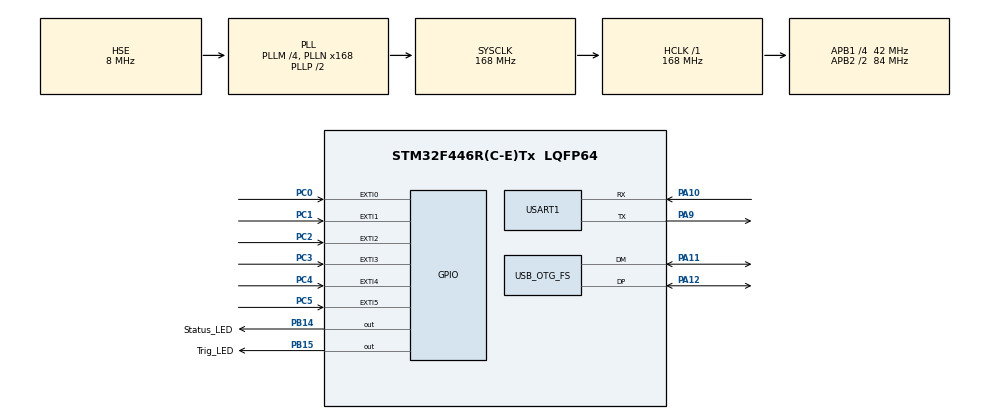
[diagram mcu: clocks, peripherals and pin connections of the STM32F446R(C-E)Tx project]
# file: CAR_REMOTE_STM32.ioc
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Mcu.Family=STM32F4
Mcu.Name=STM32F446R(C-E)Tx
Mcu.Package=LQFP64
NVIC.EXTI0_IRQn=true\:0\:0\:false\:false\:true\:true\:true\:true
NVIC.EXTI1_IRQn=true\:0\:0\:false\:false\:true\:true\:true\:true
NVIC.EXTI2_IRQn=true\:0\:0\:false\:false\:true\:true\:true\:true
NVIC.EXTI3_IRQn=true\:0\:0\:false\:false\:true\:true\:true\:true
NVIC.EXTI4_IRQn=true\:0\:0\:false\:false\:true\:true\:true\:true
NVIC.EXTI9_5_IRQn=true\:0\:0\:false\:false\:true\:true\:true\:true
NVIC.OTG_FS_IRQn=true\:0\:0\:false\:false\:true\:false\:true\:true
NVIC.PriorityGroup=NVIC_PRIORITYGROUP_4
NVIC.USART1_IRQn=true\:0\:0\:false\:false\:true\:true\:true\:true
PA10.Mode=Asynchronous
PA10.Signal=USART1_RX
PA11.Mode=Device_Only
PA11.Signal=USB_OTG_FS_DM
PA12.Mode=Device_Only
PA12.Signal=USB_OTG_FS_DP
PA9.Mode=Asynchronous
PA9.Signal=USART1_TX
PB14.GPIO_Label=Status_LED
PB14.Signal=GPIO_Output
PB15.GPIO_Label=Trig_LED
PB15.Signal=GPIO_Output
PC0.GPIO_PuPd=GPIO_PULLUP
PC0.Signal=GPXTI0
PC1.GPIO_PuPd=GPIO_PULLUP
PC1.Signal=GPXTI1
PC2.GPIO_PuPd=GPIO_PULLUP
PC2.Signal=GPXTI2
PC3.GPIO_PuPd=GPIO_PULLUP
PC3.Signal=GPXTI3
PC4.GPIO_PuPd=GPIO_PULLUP
PC4.Signal=GPXTI4
PC5.GPIO_PuPd=GPIO_PULLUP
PC5.Signal=GPXTI5
PH0-OSC_IN.Mode=HSE-External-Oscillator
PH0-OSC_IN.Signal=RCC_OSC_IN
PH1-OSC_OUT.Mode=HSE-External-Oscillator
PH1-OSC_OUT.Signal=RCC_OSC_OUT
ProjectManager.HeapSize=0x200
ProjectManager.StackSize=0x400
ProjectManager.TargetToolchain=STM32CubeIDE
RCC.AHBFreq_Value=168000000
RCC.APB1CLKDivider=RCC_HCLK_DIV4
RCC.APB1Freq_Value=42000000
RCC.APB1TimFreq_Value=84000000
RCC.APB2CLKDivider=RCC_HCLK_DIV2
RCC.APB2Freq_Value=84000000
RCC.APB2TimFreq_Value=168000000
RCC.CortexFreq_Value=168000000
RCC.HCLKFreq_Value=168000000
RCC.HSE_VALUE=8000000
RCC.PLLM=4
RCC.PLLN=168
RCC.PLLQ=7
RCC.SYSCLKFreq_VALUE=168000000
RCC.SYSCLKSource=RCC_SYSCLKSOURCE_PLLCLK
RCC.USBFreq_Value=48000000
RCC.VCOOutputFreq_Value=336000000
USART1.VirtualMode=VM_ASYNC
USB_DEVICE.CLASS_NAME_FS=CDC
USB_DEVICE.VirtualMode-CDC_FS=Cdc
USB_DEVICE.VirtualModeFS=Cdc_FS
USB_OTG_FS.VirtualMode=Device_Only
VP_USB_DEVICE_VS_USB_DEVICE_CDC_FS.Mode=CDC_FS
board=custom

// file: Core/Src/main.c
/* USER CODE BEGIN Header */
/**
  ******************************************************************************
  * @file           : main.c
  * @brief          : Main program body
  ******************************************************************************
  * @attention
  *
  * Copyright (c) 2025 STMicroelectronics.
  * All rights reserved.
  *
  * This software is licensed under terms that can be found in the LICENSE file
  * in the root directory of this software component.
  * If no LICENSE file comes with this software, it is provided AS-IS.
  *
  ******************************************************************************
  */
/* USER CODE END Header */
#include "main.h"
#include "usb_device.h"

/* USER CODE BEGIN Includes */
#include "usbd_cdc_if.h"
#include <string.h>
/* USER CODE END Includes */

UART_HandleTypeDef huart1;

void SystemClock_Config(void);
static void MX_GPIO_Init(void);
static void MX_USART1_UART_Init(void);

/* USER CODE BEGIN 0 */
char RxBuff[7];
char usbCdcData[30];
/* USER CODE END 0 */

int main(void)
{

  /* MCU Configuration--------------------------------------------------------*/

  /* Reset of all peripherals, Initializes the Flash interface and the Systick. */
  HAL_Init();

  /* Configure the system clock */
  SystemClock_Config();

  /* Initialize all configured peripherals */
  MX_GPIO_Init();
  MX_USART1_UART_Init();
  MX_USB_DEVICE_Init();
  /* USER CODE BEGIN 2 */
  //HAL_UART_Receive_IT(&huart1, RxBuff, 7);
  HAL_GPIO_WritePin(GPIOB, GPIO_PIN_14, GPIO_PIN_SET);
  HAL_Delay(2000);
  CDC_Transmit_FS((uint8_t*)"This USB is talking\r\n", sizeof("This USB is talking\r\n"));

  /* USER CODE END 2 */

  /* Infinite loop */
  while (1)
  {
	  GPIO_PinState pinState = HAL_GPIO_ReadPin(GPIOB, GPIO_PIN_15);
	  if(pinState == GPIO_PIN_SET){
		  HAL_Delay(250);
		  HAL_GPIO_WritePin(GPIOB, GPIO_PIN_15, GPIO_PIN_RESET);
	  }
  }
}

void SystemClock_Config(void)
{
  RCC_OscInitTypeDef RCC_OscInitStruct = {0};
  RCC_ClkInitTypeDef RCC_ClkInitStruct = {0};

  /** Configure the main internal regulator output voltage
  */
  __HAL_RCC_PWR_CLK_ENABLE();
  __HAL_PWR_VOLTAGESCALING_CONFIG(PWR_REGULATOR_VOLTAGE_SCALE1);

  /** Initializes the RCC Oscillators according to the specified parameters
  * in the RCC_OscInitTypeDef structure.
  */
  RCC_OscInitStruct.OscillatorType = RCC_OSCILLATORTYPE_HSE;
  RCC_OscInitStruct.HSEState = RCC_HSE_ON;
  RCC_OscInitStruct.PLL.PLLState = RCC_PLL_ON;
  RCC_OscInitStruct.PLL.PLLSource = RCC_PLLSOURCE_HSE;
  RCC_OscInitStruct.PLL.PLLM = 4;
  RCC_OscInitStruct.PLL.PLLN = 168;
  RCC_OscInitStruct.PLL.PLLP = RCC_PLLP_DIV2;
  RCC_OscInitStruct.PLL.PLLQ = 7;
  RCC_OscInitStruct.PLL.PLLR = 2;
  if (HAL_RCC_OscConfig(&RCC_OscInitStruct) != HAL_OK)
  {
    Error_Handler();
  }

  /** Initializes the CPU, AHB and APB buses clocks
  */
  RCC_ClkInitStruct.ClockType = RCC_CLOCKTYPE_HCLK|RCC_CLOCKTYPE_SYSCLK
                              |RCC_CLOCKTYPE_PCLK1|RCC_CLOCKTYPE_PCLK2;
  RCC_ClkInitStruct.SYSCLKSource = RCC_SYSCLKSOURCE_PLLCLK;
  RCC_ClkInitStruct.AHBCLKDivider = RCC_SYSCLK_DIV1;
  RCC_ClkInitStruct.APB1CLKDivider = RCC_HCLK_DIV4;
  RCC_ClkInitStruct.APB2CLKDivider = RCC_HCLK_DIV2;

  if (HAL_RCC_ClockConfig(&RCC_ClkInitStruct, FLASH_LATENCY_5) != HAL_OK)
  {
    Error_Handler();
  }
}

static void MX_USART1_UART_Init(void)
{

  huart1.Instance = USART1;
  huart1.Init.BaudRate = 115200;
  huart1.Init.WordLength = UART_WORDLENGTH_8B;
  huart1.Init.StopBits = UART_STOPBITS_1;
  huart1.Init.Parity = UART_PARITY_NONE;
  huart1.Init.Mode = UART_MODE_TX_RX;
  huart1.Init.HwFlowCtl = UART_HWCONTROL_NONE;
  huart1.Init.OverSampling = UART_OVERSAMPLING_16;
  if (HAL_UART_Init(&huart1) != HAL_OK)
  {
    Error_Handler();
  }

}

static void MX_GPIO_Init(void)
{
  GPIO_InitTypeDef GPIO_InitStruct = {0};

  /* GPIO Ports Clock Enable */
  __HAL_RCC_GPIOH_CLK_ENABLE();
  __HAL_RCC_GPIOC_CLK_ENABLE();
  __HAL_RCC_GPIOB_CLK_ENABLE();
  __HAL_RCC_GPIOA_CLK_ENABLE();

  /*Configure GPIO pin Output Level */
  HAL_GPIO_WritePin(GPIOB, Status_LED_Pin|Trig_LED_Pin, GPIO_PIN_RESET);

  /*Configure GPIO pins : PC0 PC1 PC2 PC3
                           PC4 PC5 */
  GPIO_InitStruct.Pin = GPIO_PIN_0|GPIO_PIN_1|GPIO_PIN_2|GPIO_PIN_3
                          |GPIO_PIN_4|GPIO_PIN_5;
  GPIO_InitStruct.Mode = GPIO_MODE_IT_RISING;
  GPIO_InitStruct.Pull = GPIO_PULLUP;
  HAL_GPIO_Init(GPIOC, &GPIO_InitStruct);

  /*Configure GPIO pins : Status_LED_Pin Trig_LED_Pin */
  GPIO_InitStruct.Pin = Status_LED_Pin|Trig_LED_Pin;
  GPIO_InitStruct.Mode = GPIO_MODE_OUTPUT_PP;
  GPIO_InitStruct.Pull = GPIO_NOPULL;
  GPIO_InitStruct.Speed = GPIO_SPEED_FREQ_LOW;
  HAL_GPIO_Init(GPIOB, &GPIO_InitStruct);

  /* EXTI interrupt init*/
  HAL_NVIC_SetPriority(EXTI0_IRQn, 0, 0);
  HAL_NVIC_EnableIRQ(EXTI0_IRQn);

  HAL_NVIC_SetPriority(EXTI1_IRQn, 0, 0);
  HAL_NVIC_EnableIRQ(EXTI1_IRQn);

  HAL_NVIC_SetPriority(EXTI2_IRQn, 0, 0);
  HAL_NVIC_EnableIRQ(EXTI2_IRQn);

  HAL_NVIC_SetPriority(EXTI3_IRQn, 0, 0);
  HAL_NVIC_EnableIRQ(EXTI3_IRQn);

  HAL_NVIC_SetPriority(EXTI4_IRQn, 0, 0);
  HAL_NVIC_EnableIRQ(EXTI4_IRQn);

  HAL_NVIC_SetPriority(EXTI9_5_IRQn, 0, 0);
  HAL_NVIC_EnableIRQ(EXTI9_5_IRQn);

}

/* USER CODE BEGIN 4 */
void HAL_GPIO_EXTI_Callback(uint16_t GPIO_Pin)
{
//	HAL_Delay(50);
	if(GPIO_Pin == GPIO_PIN_0) // If The INT Source Is EXTI Line14 (PB14 Pin)
	{
		HAL_UART_Transmit(&huart1, (uint8_t *)"MOVE_F0", strlen("MOVE_F0"), 100); //This will be sent to the other MCU via HC-12 wireless module
		CDC_Transmit_FS((uint8_t*)"Button C0 is Pressed\r\n", sizeof("Button C0 is Pressed\r\n"));
		HAL_GPIO_WritePin(GPIOB, GPIO_PIN_15, GPIO_PIN_SET);

	}
	else if(GPIO_Pin == GPIO_PIN_1)
	{
		HAL_UART_Transmit(&huart1, (uint8_t *)"MOVE_F1", strlen("MOVE_F1"), 100); //This will be sent to the other MCU via HC-12 wireless module
		CDC_Transmit_FS((uint8_t*)"Button C1 is Pressed\r\n", sizeof("Button C1 is Pressed\r\n"));
		HAL_GPIO_WritePin(GPIOB, GPIO_PIN_15, GPIO_PIN_SET);
	}
	else if(GPIO_Pin == GPIO_PIN_2)
	{
		HAL_UART_Transmit(&huart1, (uint8_t *)"MOVE_F2", strlen("MOVE_F2"), 100); //This will be sent to the other MCU via HC-12 wireless module
		CDC_Transmit_FS((uint8_t*)"Button C2 is Pressed\r\n", sizeof("Button C2 is Pressed\r\n"));
		HAL_GPIO_WritePin(GPIOB, GPIO_PIN_15, GPIO_PIN_SET);
	}
	else if(GPIO_Pin == GPIO_PIN_3)
	{
		HAL_UART_Transmit(&huart1, (uint8_t *)"MOVE_F3", strlen("MOVE_F3"), 100); //This will be sent to the other MCU via HC-12 wireless module
		CDC_Transmit_FS((uint8_t*)"Button C3 is Pressed\r\n", sizeof("Button C3 is Pressed\r\n"));
		HAL_GPIO_WritePin(GPIOB, GPIO_PIN_15, GPIO_PIN_SET);
	}
	else if(GPIO_Pin == GPIO_PIN_4)
	{
		HAL_UART_Transmit(&huart1, (uint8_t *)"TOGGLED", strlen("TOGGLED"), 100); //This will be sent to the other MCU via HC-12 wireless module
		CDC_Transmit_FS((uint8_t*)"Toggle Button C4 is Pressed\r\n", sizeof("Toggle Button C4 is Pressed\r\n"));
		HAL_GPIO_WritePin(GPIOB, GPIO_PIN_15, GPIO_PIN_SET);
	}
	else if(GPIO_Pin == GPIO_PIN_5)
	{
		HAL_UART_Transmit(&huart1, (uint8_t *)"MOVE_F5", strlen("MOVE_F5"), 100); //This will be sent to the other MCU via HC-12 wireless module
		CDC_Transmit_FS((uint8_t*)"Button C5 is Pressed\r\n", sizeof("Button C5 is Pressed\r\n"));
		HAL_GPIO_WritePin(GPIOB, GPIO_PIN_15, GPIO_PIN_SET);
	}

}
/* USER CODE END 4 */

void Error_Handler(void)
{
  __disable_irq();
  while (1)
  {
  }
}
